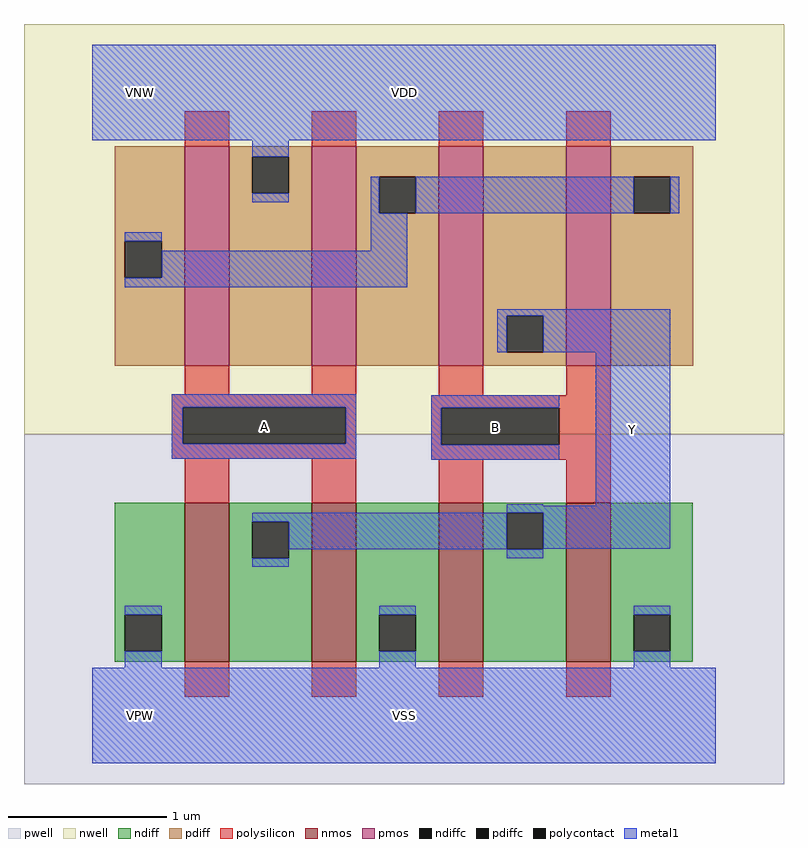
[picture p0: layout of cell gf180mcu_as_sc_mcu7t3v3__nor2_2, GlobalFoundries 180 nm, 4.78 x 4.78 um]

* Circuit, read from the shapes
.subckt gf180mcu_as_sc_mcu7t3v3__nor2_2 VDD VNW VPW VSS Y B A
XM1 Y A VSS VPW nfet_03v3 w=1u l=0.28u m=2
XM2 Y B VSS VPW nfet_03v3 w=1u l=0.28u m=2
XM3 VDD A n1 VNW pfet_03v3 w=1.38u l=0.28u m=2
XM4 Y B n1 VNW pfet_03v3 w=1.38u l=0.28u m=2
.ends

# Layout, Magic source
magic
tech gf180mcuD
magscale 1 10
<< nwell >>
rect -86 354 870 870
<< pwell >>
rect -86 -86 870 354
<< nmos >>
rect 116 68 172 268
rect 276 68 332 268
rect 436 68 492 268
rect 596 68 652 268
<< pmos >>
rect 116 440 172 716
rect 276 440 332 716
rect 436 440 492 716
rect 596 440 652 716
<< ndiff >>
rect 28 127 116 268
rect 28 81 41 127
rect 87 81 116 127
rect 28 68 116 81
rect 172 244 276 268
rect 172 198 201 244
rect 247 198 276 244
rect 172 68 276 198
rect 332 127 436 268
rect 332 81 361 127
rect 407 81 436 127
rect 332 68 436 81
rect 492 255 596 268
rect 492 209 521 255
rect 567 209 596 255
rect 492 68 596 209
rect 652 127 755 268
rect 652 81 681 127
rect 727 81 755 127
rect 652 68 755 81
<< pdiff >>
rect 28 597 116 716
rect 28 551 41 597
rect 87 551 116 597
rect 28 440 116 551
rect 172 703 276 716
rect 172 657 201 703
rect 247 657 276 703
rect 172 440 276 657
rect 332 678 436 716
rect 332 632 361 678
rect 407 632 436 678
rect 332 440 436 632
rect 492 503 596 716
rect 492 457 521 503
rect 567 457 596 503
rect 492 440 596 457
rect 652 678 756 716
rect 652 632 681 678
rect 727 632 756 678
rect 652 440 756 632
<< ndiffc >>
rect 41 81 87 127
rect 201 198 247 244
rect 361 81 407 127
rect 521 209 567 255
rect 681 81 727 127
<< pdiffc >>
rect 41 551 87 597
rect 201 657 247 703
rect 361 632 407 678
rect 521 457 567 503
rect 681 632 727 678
<< polysilicon >>
rect 116 716 172 760
rect 276 716 332 760
rect 436 716 492 760
rect 596 716 652 760
rect 116 404 172 440
rect 276 404 332 440
rect 100 388 332 404
rect 436 403 492 440
rect 596 403 652 440
rect 100 342 114 388
rect 319 342 332 388
rect 100 323 332 342
rect 116 268 172 323
rect 276 268 332 323
rect 426 387 652 403
rect 426 341 439 387
rect 587 341 652 387
rect 426 322 652 341
rect 436 268 492 322
rect 596 268 652 322
rect 116 24 172 68
rect 276 24 332 68
rect 436 24 492 68
rect 596 24 652 68
<< polycontact >>
rect 114 342 319 388
rect 439 341 587 387
<< metal1 >>
rect 0 724 784 844
rect 201 703 247 724
rect 201 646 247 657
rect 350 632 361 678
rect 407 632 681 678
rect 727 632 738 678
rect 41 597 87 608
rect 350 585 396 632
rect 87 551 396 585
rect 41 539 396 551
rect 509 503 727 511
rect 509 457 521 503
rect 567 457 727 503
rect 100 388 332 404
rect 100 342 114 388
rect 319 342 332 388
rect 100 323 332 342
rect 426 387 587 403
rect 426 341 439 387
rect 426 322 587 341
rect 521 264 567 266
rect 633 264 727 457
rect 521 255 727 264
rect 201 244 521 255
rect 247 209 521 244
rect 567 210 727 255
rect 521 198 567 209
rect 201 187 247 198
rect 41 127 87 138
rect 41 60 87 81
rect 361 127 407 138
rect 361 60 407 81
rect 681 127 727 138
rect 681 60 727 81
rect 0 -60 784 60
<< labels >>
flabel metal1 s 0 724 784 844 0 FreeSans 400 0 0 0 VDD
port 1 nsew power bidirectional abutment
flabel metal1 s 0 -60 784 60 0 FreeSans 400 0 0 0 VSS
port 4 nsew ground bidirectional abutment
flabel nwell s 10 734 110 834 0 FreeSans 400 0 0 0 VNW
port 2 nsew power bidirectional
flabel pwell s 10 -50 110 50 0 FreeSans 400 0 0 0 VPW
port 3 nsew ground bidirectional
flabel metal1 633 210 727 511 0 FreeSans 200 0 0 0 Y
port 5 nsew signal output
flabel metal1 426 322 587 403 0 FreeSans 200 0 0 0 B
port 6 nsew signal input
flabel metal1 100 323 332 404 0 FreeSans 200 0 0 0 A
port 7 nsew signal input
<< properties >>
string FIXED_BBOX 0 0 784 784
string LEFclass CORE
string LEFsite unithd
string LEFsymmetry X Y
string MASKHINTS_NPLUS -16 -46 800 354
string MASKHINTS_PPLUS -16 354 800 830
<< end >>
